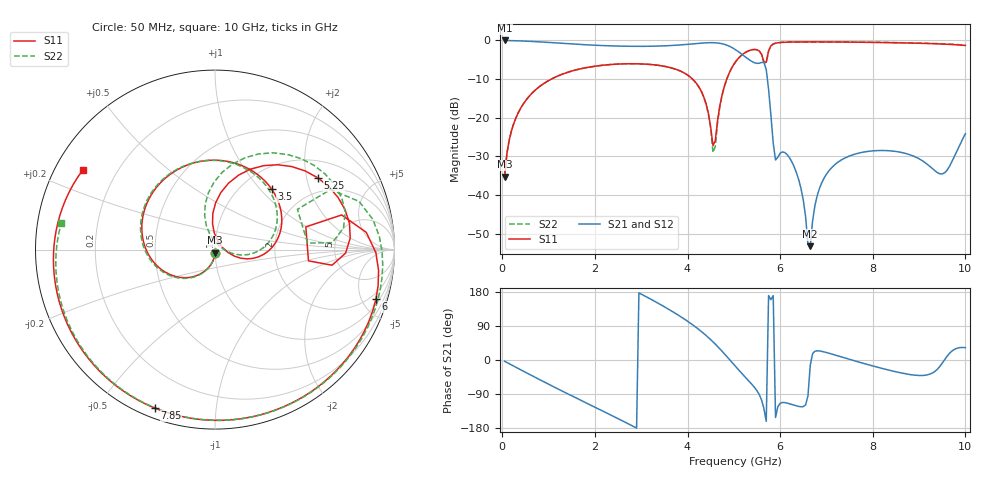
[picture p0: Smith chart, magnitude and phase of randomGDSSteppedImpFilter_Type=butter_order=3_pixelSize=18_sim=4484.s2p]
! freq	dB(S11)	phase(S11)	dB(S12)	phase(S12)
!  dB(S21)	phase(S21)	dB(S22)	phase(S22)
!S-par simulation data
#  GHz  S  DB  R 50
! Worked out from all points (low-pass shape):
!   200 points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, 50 MHz to 10 GHz, reference 50 ohm
!   highest |S21| = -0.02 dB at 50 MHz (marker M1); lowest = -53.2 dB at 6.65 GHz (marker M2)
!   |S21| within 3 dB of the highest: start of sweep to 5.11 GHz
!   lowest |S11| = -35.2 dB at 50 MHz (marker M3), VSWR 1.04, Z = 50 - j1.73 ohm
!   |S11| at or under -10 dB: start of sweep to 1.062 GHz; 4.106 GHz to 4.848 GHz (741.8 MHz wide, 16.6 % of centre)
!   |S22| runs from -35.2 to -0.4 dB; largest |S21 - S12| = 0
!   S11 on the Smith chart (normalised r, x): 50 MHz: 1.00, -0.03; 3.5 GHz: 1.35, +1.16; 5.25 GHz: 1.49, +2.33; 6 GHz: 1.40, -6.38; 7.85 GHz: 0.04, -0.69; 10 GHz: 0.08, +0.28
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0.05  -35.24 -87.8  -0.02 -3.3  -0.02 -3.3  -35.24 -87.7
0.5  -15.66 -122.4  -0.19 -32.4  -0.19 -32.4  -15.65 -121.6
1.75  -7.20 158.3  -1.10 -109.5  -1.10 -109.5  -7.20 161.8
2.65  -6.06 102.8  -1.51 -164.0  -1.51 -164.0  -6.06 108.5
3.4  -6.51 53.8  -1.46 147.4  -1.46 147.4  -6.51 61.4
3.5  -6.71 46.9  -1.42 140.4  -1.42 140.4  -6.71 54.7
4.25  -12.15 -9.3  -0.76 80.0  -0.76 80.0  -12.17 -1.2
4.55  -27.23 15.0  -0.60 47.9  -0.60 47.9  -29.01 17.6
5.05  -5.33 59.9  -2.52 -18.9  -2.52 -18.9  -5.35 71.7
5.25  -3.12 34.9  -4.30 -45.7  -4.30 -45.7  -3.12 46.5
5.65  -5.60 -6.9  -5.70 -128.7  -5.70 -128.7  -5.73 4.0
5.75  -2.72 15.3  -12.61 170.1  -12.61 170.1  -2.78 27.5
5.9  -0.74 -7.3  -30.95 -151.8  -30.95 -151.8  -0.74 4.5
6  -0.56 -17.0  -29.19 -114.2  -29.19 -114.2  -0.55 -5.3
6.35  -0.41 -41.4  -34.17 -121.1  -34.17 -121.1  -0.40 -29.7
6.65  -0.39 -57.9  -53.25 -13.9  -53.25 -13.9  -0.37 -46.2
6.7  -0.39 -60.4  -46.76 16.7  -46.76 16.7  -0.37 -48.7
7.05  -0.41 -77.1  -33.79 18.0  -33.79 18.0  -0.38 -65.2
7.85  -0.50 -110.8  -28.80 -10.7  -28.80 -10.7  -0.46 -98.1
8.35  -0.58 -130.8  -28.56 -26.8  -28.56 -26.8  -0.54 -117.1
9.5  -0.94 178.5  -34.55 -8.4  -34.55 -8.4  -0.88 -163.7
10  -1.31 148.8  -24.15 32.5  -24.15 32.5  -1.22 170.1
